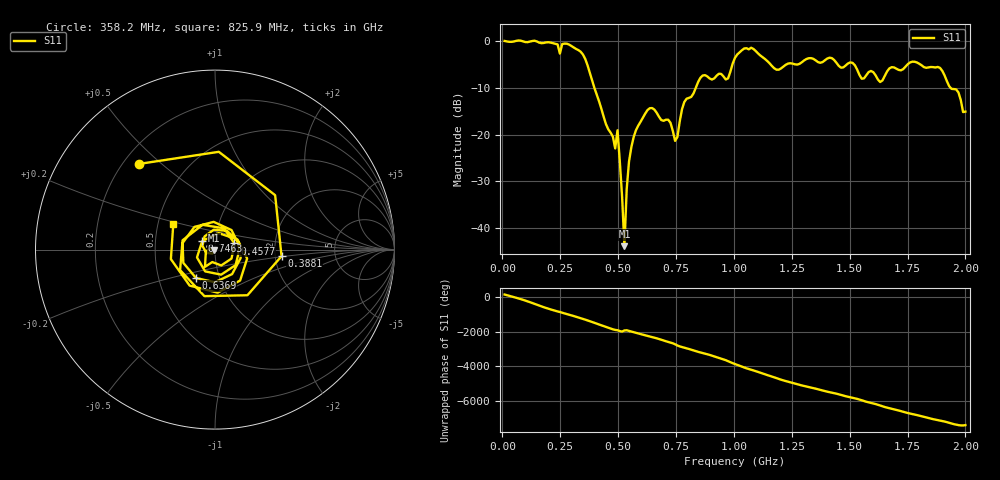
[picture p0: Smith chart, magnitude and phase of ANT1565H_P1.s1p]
!Created with skrf (http://scikit-rf.org).
# Hz S RI R 50.0
!freq ReS11 ImS11
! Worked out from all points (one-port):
!   201 points, 10 MHz to 2 GHz, reference 50 ohm
!   lowest |S11| = -43.8 dB at 527.4 MHz (marker M1), VSWR 1.01, Z = 49.6 - j0.469 ohm
!   |S11| at or under -10 dB: 397.3 MHz to 836 MHz (438.7 MHz wide, 71.1 % of centre); 1.935 GHz to end of sweep
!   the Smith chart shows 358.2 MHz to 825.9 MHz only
!   S11 on the Smith chart (normalised r, x): 358.2 MHz: 0.26, +0.42; 388.1 MHz: 2.17, -0.19; 457.8 MHz: 1.24, +0.09; 636.9 MHz: 0.77, -0.25; 746.3 MHz: 0.86, +0.08; 825.9 MHz: 0.60, +0.19
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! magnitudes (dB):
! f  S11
! 10 MHz  -0.1
! 258.8 MHz  -0.7
! 358.2 MHz  -3.9
! 388.1 MHz  -8.6
! 457.8 MHz  -18.9
! 487.6 MHz  -23.0
! 497.6 MHz  -19.1
! 507.5 MHz  -25.7
! 527.4 MHz  -43.8
! 537.4 MHz  -31.6
! 557.2 MHz  -22.7
! 636.9 MHz  -14.4
! 716.5 MHz  -16.8
! 746.3 MHz  -21.4
! 756.2 MHz  -20.5
! 786.1 MHz  -13.1
! 825.9 MHz  -11.2
! 865.7 MHz  -7.4
! 975.1 MHz  -8.0
! 1.005 GHz  -3.7
! 1.075 GHz  -1.5
! 1.184 GHz  -6.2
! 1.254 GHz  -4.9
! 1.502 GHz  -4.6
! 1.632 GHz  -8.8
! 1.751 GHz  -5.0
! 1.891 GHz  -5.8
! 2 GHz  -15.1
